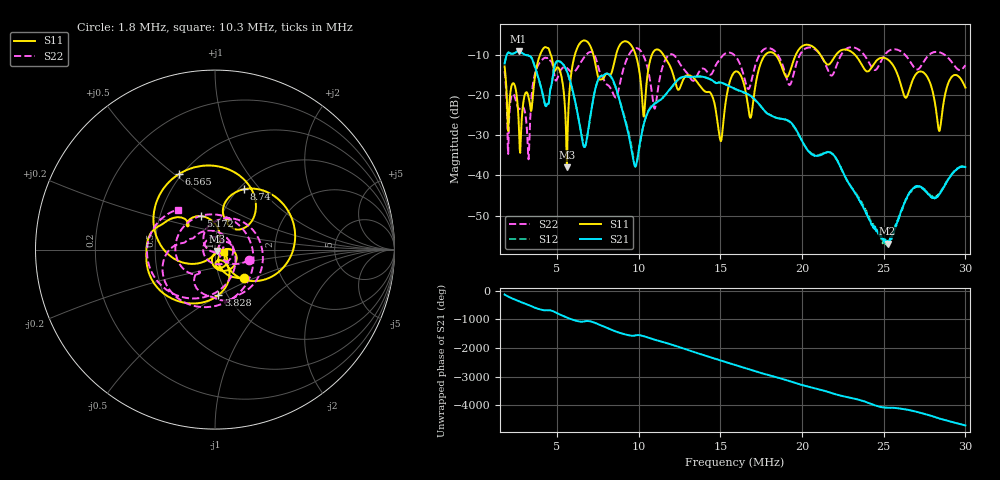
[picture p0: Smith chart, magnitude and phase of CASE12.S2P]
!Agilent Technologies,E5061B,MY49101568,A.02.00
!Date: Wed Mar 01 12:36:57 2023
!Data & Calibration Information:
!Freq	S11:SOLT2(OFF)	S21:SOLT2(OFF)	S12:SOLT2(OFF)	S22:SOLT2(OFF)
# Hz S dB R 50
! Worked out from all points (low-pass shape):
!   1155 points, 1.8 MHz to 30 MHz, reference 50 ohm
!   highest |S21| = -9.19 dB at 2.655 MHz (marker M1); lowest = -56.9 dB at 25.23 MHz (marker M2)
!   |S21| within 3 dB of the highest: 1.802 MHz to 3.583 MHz (1.781 MHz wide, 66.1 % of centre); 4.914 MHz to 5.318 MHz (403.9 kHz wide, 7.89 % of centre)
!   lowest |S11| = -38.0 dB at 5.612 MHz (marker M3), VSWR 1.03, Z = 51 - j0.82 ohm
!   |S11| at or under -10 dB: start of sweep to 3.976 MHz; 11.51 MHz to 17.77 MHz (6.264 MHz wide, 42.8 % of centre); 23.22 MHz to end of sweep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
!   |S22| runs from -36.0 to -8.2 dB; largest |S21 - S12| = 0.0052
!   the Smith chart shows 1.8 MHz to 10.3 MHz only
!   S11 on the Smith chart (normalised r, x): 1.8 MHz: 1.30, -0.43; 3.828 MHz: 0.91, -0.49; 5.172 MHz: 0.80, +0.31; 6.565 MHz: 0.48, +0.52; 8.74 MHz: 1.06, +0.83; 10.3 MHz: 1.11, -0.03
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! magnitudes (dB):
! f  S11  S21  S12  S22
! 1.8 MHz  -13.0  -12.2  -12.2  -14.1
! 2.655 MHz  -26.2  -9.2  -9.2  -23.5
! 3.266 MHz  -20.6  -10.3  -10.3  -36.0
! 3.828 MHz  -11.9  -15.3  -15.4  -12.8
! 5.172 MHz  -13.9  -11.8  -11.7  -14.4
! 5.612 MHz  -38.0  -14.1  -14.2  -13.3
! 6.516 MHz  -6.7  -30.5  -30.0  -11.6
! 6.565 MHz  -6.6  -31.5  -31.0  -11.3
! 7.616 MHz  -16.2  -15.6  -15.6  -14.4
! 8.74 MHz  -8.5  -20.0  -20.0  -19.3
! 9.766 MHz  -9.4  -37.7  -37.4  -8.5
! 10.3 MHz  -25.4  -27.5  -27.5  -10.3
! 11.21 MHz  -8.8  -21.7  -21.5  -17.9
! 15.02 MHz  -31.5  -16.9  -16.9  -10.9
! 15.9 MHz  -14.3  -18.5  -18.6  -10.3
! 16.85 MHz  -25.7  -20.3  -20.4  -17.4
! 17.76 MHz  -10.1  -24.2  -24.2  -8.5
! 20.62 MHz  -7.9  -34.8  -34.6  -8.4
! 25.23 MHz  -11.2  -56.9  -57.6  -9.3
! 25.31 MHz  -11.4  -56.9  -56.6  -9.1
! 28.39 MHz  -28.9  -44.8  -44.4  -9.4
! 30 MHz  -18.2  -38.0  -37.9  -12.7
